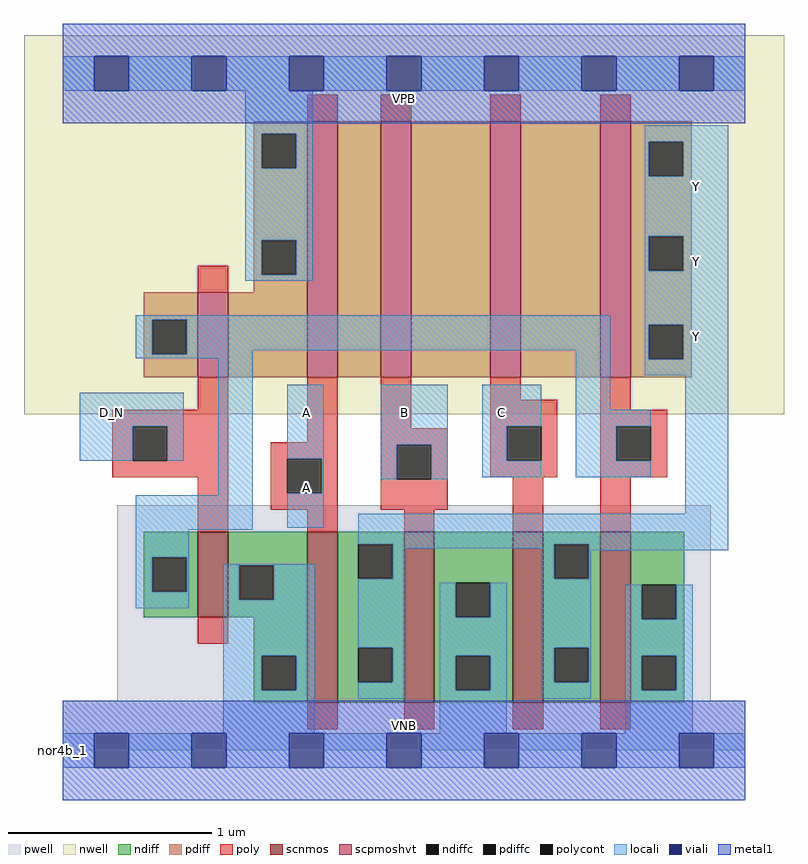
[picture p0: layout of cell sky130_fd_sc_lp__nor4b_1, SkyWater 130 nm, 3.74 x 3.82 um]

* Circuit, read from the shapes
.subckt sky130_fd_sc_lp__nor4b_1 A B C D_N VGND VNB VPB VPWR Y
XM1 VGND D_N n1 VNB sky130_fd_pr__nfet_01v8 w=0.42 l=0.15
XM2 Y A VGND VNB sky130_fd_pr__nfet_01v8 w=0.84 l=0.15
XM3 VGND B Y VNB sky130_fd_pr__nfet_01v8 w=0.84 l=0.15
XM4 Y C VGND VNB sky130_fd_pr__nfet_01v8 w=0.84 l=0.15
XM5 VGND n1 Y VNB sky130_fd_pr__nfet_01v8 w=0.84 l=0.15
XM6 VPWR D_N n1 VPB sky130_fd_pr__pfet_01v8_hvt w=0.42 l=0.15
XM7 n2 A VPWR VPB sky130_fd_pr__pfet_01v8_hvt w=1.26 l=0.15
XM8 n3 B n2 VPB sky130_fd_pr__pfet_01v8_hvt w=1.26 l=0.15
XM9 n4 C n3 VPB sky130_fd_pr__pfet_01v8_hvt w=1.26 l=0.15
XM10 Y n1 n4 VPB sky130_fd_pr__pfet_01v8_hvt w=1.26 l=0.15
.ends

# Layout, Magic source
magic
tech sky130A
magscale 1 2
<< nwell >>
rect -38 331 710 704
<< pwell >>
rect 54 49 638 241
rect 0 0 672 49
<< scnmos >>
rect 133 131 163 215
rect 241 47 271 215
rect 336 47 366 215
rect 443 47 473 215
rect 529 47 559 215
<< scpmoshvt >>
rect 133 367 163 451
rect 241 367 271 619
rect 313 367 343 619
rect 421 367 451 619
rect 529 367 559 619
<< ndiff >>
rect 80 190 133 215
rect 80 156 88 190
rect 122 156 133 190
rect 80 131 133 156
rect 163 182 241 215
rect 163 148 174 182
rect 208 148 241 182
rect 163 131 241 148
rect 188 93 241 131
rect 188 59 196 93
rect 230 59 241 93
rect 188 47 241 59
rect 271 203 336 215
rect 271 169 291 203
rect 325 169 336 203
rect 271 101 336 169
rect 271 67 291 101
rect 325 67 336 101
rect 271 47 336 67
rect 366 165 443 215
rect 366 131 387 165
rect 421 131 443 165
rect 366 93 443 131
rect 366 59 387 93
rect 421 59 443 93
rect 366 47 443 59
rect 473 203 529 215
rect 473 169 484 203
rect 518 169 529 203
rect 473 101 529 169
rect 473 67 484 101
rect 518 67 529 101
rect 473 47 529 67
rect 559 163 612 215
rect 559 129 570 163
rect 604 129 612 163
rect 559 93 612 129
rect 559 59 570 93
rect 604 59 612 93
rect 559 47 612 59
<< pdiff >>
rect 188 607 241 619
rect 188 573 196 607
rect 230 573 241 607
rect 188 502 241 573
rect 188 468 196 502
rect 230 468 241 502
rect 188 451 241 468
rect 80 424 133 451
rect 80 390 88 424
rect 122 390 133 424
rect 80 367 133 390
rect 163 367 241 451
rect 271 367 313 619
rect 343 367 421 619
rect 451 367 529 619
rect 559 599 619 619
rect 559 565 577 599
rect 611 565 619 599
rect 559 506 619 565
rect 559 472 577 506
rect 611 472 619 506
rect 559 419 619 472
rect 559 385 577 419
rect 611 385 619 419
rect 559 367 619 385
<< ndiffc >>
rect 88 156 122 190
rect 174 148 208 182
rect 196 59 230 93
rect 291 169 325 203
rect 291 67 325 101
rect 387 131 421 165
rect 387 59 421 93
rect 484 169 518 203
rect 484 67 518 101
rect 570 129 604 163
rect 570 59 604 93
<< pdiffc >>
rect 196 573 230 607
rect 196 468 230 502
rect 88 390 122 424
rect 577 565 611 599
rect 577 472 611 506
rect 577 385 611 419
<< poly >>
rect 241 619 271 645
rect 313 619 343 645
rect 421 619 451 645
rect 529 619 559 645
rect 133 451 163 477
rect 133 335 163 367
rect 49 319 163 335
rect 49 285 69 319
rect 103 285 163 319
rect 241 303 271 367
rect 49 269 163 285
rect 133 215 163 269
rect 205 287 271 303
rect 205 253 221 287
rect 255 253 271 287
rect 205 237 271 253
rect 313 317 343 367
rect 421 345 451 367
rect 421 319 487 345
rect 313 301 379 317
rect 313 267 329 301
rect 363 267 379 301
rect 421 285 437 319
rect 471 285 487 319
rect 421 269 487 285
rect 529 335 559 367
rect 529 319 595 335
rect 529 285 545 319
rect 579 285 595 319
rect 529 269 595 285
rect 313 237 379 267
rect 241 215 271 237
rect 336 215 366 237
rect 443 215 473 269
rect 529 215 559 269
rect 133 105 163 131
rect 241 21 271 47
rect 336 21 366 47
rect 443 21 473 47
rect 529 21 559 47
<< polycont >>
rect 69 285 103 319
rect 221 253 255 287
rect 329 267 363 301
rect 437 285 471 319
rect 545 285 579 319
<< locali >>
rect 0 649 31 683
rect 65 649 127 683
rect 161 649 223 683
rect 257 649 319 683
rect 353 649 415 683
rect 449 649 511 683
rect 545 649 607 683
rect 641 649 672 683
rect 180 607 246 649
rect 180 573 196 607
rect 230 573 246 607
rect 180 502 246 573
rect 180 468 196 502
rect 230 468 246 502
rect 180 462 246 468
rect 573 599 655 615
rect 573 565 577 599
rect 611 565 655 599
rect 573 506 655 565
rect 573 472 577 506
rect 611 472 655 506
rect 72 424 539 428
rect 72 390 88 424
rect 122 394 539 424
rect 122 390 187 394
rect 72 386 187 390
rect 17 319 119 352
rect 17 285 69 319
rect 103 285 119 319
rect 153 251 187 386
rect 72 217 187 251
rect 221 287 257 360
rect 255 253 257 287
rect 313 301 379 360
rect 313 267 329 301
rect 363 267 379 301
rect 413 319 471 360
rect 413 285 437 319
rect 413 269 471 285
rect 505 335 539 394
rect 573 419 655 472
rect 573 385 577 419
rect 611 385 655 419
rect 573 369 655 385
rect 505 319 579 335
rect 505 285 545 319
rect 505 269 579 285
rect 221 219 257 253
rect 613 233 655 369
rect 72 190 124 217
rect 72 156 88 190
rect 122 156 124 190
rect 291 203 655 233
rect 72 140 124 156
rect 158 182 248 183
rect 158 148 174 182
rect 208 148 248 182
rect 158 93 248 148
rect 158 59 196 93
rect 230 59 248 93
rect 158 17 248 59
rect 325 199 484 203
rect 325 169 337 199
rect 291 101 337 169
rect 471 169 484 199
rect 518 197 655 203
rect 518 169 520 197
rect 325 67 337 101
rect 291 51 337 67
rect 371 131 387 165
rect 421 131 437 165
rect 371 93 437 131
rect 371 59 387 93
rect 421 59 437 93
rect 371 17 437 59
rect 471 101 520 169
rect 471 67 484 101
rect 518 67 520 101
rect 471 51 520 67
rect 554 129 570 163
rect 604 129 620 163
rect 554 93 620 129
rect 554 59 570 93
rect 604 59 620 93
rect 554 17 620 59
rect 0 -17 31 17
rect 65 -17 127 17
rect 161 -17 223 17
rect 257 -17 319 17
rect 353 -17 415 17
rect 449 -17 511 17
rect 545 -17 607 17
rect 641 -17 672 17
<< viali >>
rect 31 649 65 683
rect 127 649 161 683
rect 223 649 257 683
rect 319 649 353 683
rect 415 649 449 683
rect 511 649 545 683
rect 607 649 641 683
rect 31 -17 65 17
rect 127 -17 161 17
rect 223 -17 257 17
rect 319 -17 353 17
rect 415 -17 449 17
rect 511 -17 545 17
rect 607 -17 641 17
<< metal1 >>
rect 0 683 672 715
rect 0 649 31 683
rect 65 649 127 683
rect 161 649 223 683
rect 257 649 319 683
rect 353 649 415 683
rect 449 649 511 683
rect 545 649 607 683
rect 641 649 672 683
rect 0 617 672 649
rect 0 17 672 49
rect 0 -17 31 17
rect 65 -17 127 17
rect 161 -17 223 17
rect 257 -17 319 17
rect 353 -17 415 17
rect 449 -17 511 17
rect 545 -17 607 17
rect 641 -17 672 17
rect 0 -49 672 -17
<< labels >>
flabel pwell s 0 0 672 49 0 FreeSans 200 0 0 0 VNB
port 6 nsew ground bidirectional
flabel nwell s 0 617 672 666 0 FreeSans 200 0 0 0 VPB
port 7 nsew power bidirectional
rlabel comment s 0 0 0 0 4 nor4b_1
flabel metal1 s 0 617 672 666 0 FreeSans 340 0 0 0 VPWR
port 8 nsew power bidirectional
flabel metal1 s 0 0 672 49 0 FreeSans 340 0 0 0 VGND
port 5 nsew ground bidirectional
flabel locali s 607 538 641 572 0 FreeSans 340 0 0 0 Y
port 9 nsew signal output
flabel locali s 223 242 257 276 0 FreeSans 340 0 0 0 A
port 1 nsew signal input
flabel locali s 223 316 257 350 0 FreeSans 340 0 0 0 A
port 1 nsew signal input
flabel locali s 319 316 353 350 0 FreeSans 340 0 0 0 B
port 2 nsew signal input
flabel locali s 415 316 449 350 0 FreeSans 340 0 0 0 C
port 3 nsew signal input
flabel locali s 31 316 65 350 0 FreeSans 340 0 0 0 D_N
port 4 nsew signal input
flabel locali s 607 464 641 498 0 FreeSans 340 0 0 0 Y
port 9 nsew signal output
flabel locali s 607 390 641 424 0 FreeSans 340 0 0 0 Y
port 9 nsew signal output
<< properties >>
string LEFsite unit
string LEFclass CORE
string FIXED_BBOX 0 0 672 666
string GDS_FILE $PDKPATH/libs.ref/sky130_fd_sc_lp/gds/sky130_fd_sc_lp.gds
string LEFsymmetry X Y R90
string GDS_END 1815216
string GDS_START 1809184
<< end >>
